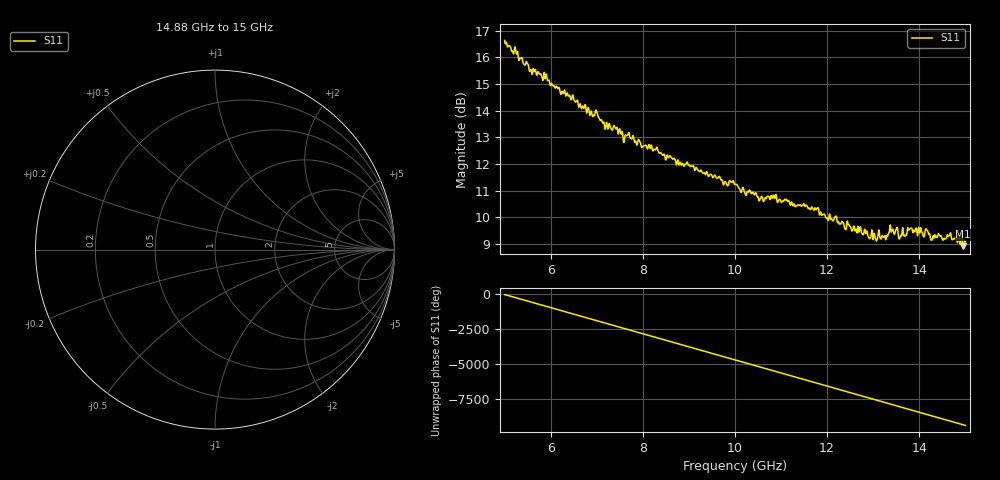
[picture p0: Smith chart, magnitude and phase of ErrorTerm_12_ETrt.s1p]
!  1-Port S-parameters saved by WinCal
! VAR NAME=2-Port SOLT labuser 7
! VAR Error Term Name=ETrt phys rcv port 1 phys src port 2
# Hz S RI R 50
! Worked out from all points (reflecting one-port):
!   1001 points, 5 GHz to 15 GHz, reference 50 ohm
!   lowest |S11| = 8.9 dB at 14.95 GHz (marker M1)
!   phase of S11 starts at -64 deg and turns -9327 deg over the sweep
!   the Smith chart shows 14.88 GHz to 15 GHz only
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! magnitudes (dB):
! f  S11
! 5 GHz  16.6
! 5.56 GHz  15.5
! 5.9 GHz  15.4
! 6.25 GHz  14.7
! 6.89 GHz  13.9
! 7.01 GHz  13.9
! 7.2 GHz  13.5
! 7.5 GHz  13.3
! 8.75 GHz  12.1
! 9.62 GHz  11.5
! 9.79 GHz  11.3
! 10 GHz  11.2
! 10.57 GHz  10.8
! 10.84 GHz  10.8
! 11.25 GHz  10.4
! 11.77 GHz  10.3
! 11.99 GHz  10.0
! 12.5 GHz  9.7
! 13.04 GHz  9.3
! 13.27 GHz  9.2
! 13.39 GHz  9.4
! 13.58 GHz  9.2
! 13.75 GHz  9.6
! 14.17 GHz  9.5
! 14.28 GHz  9.2
! 14.64 GHz  9.3
! 14.95 GHz  8.9
! 15 GHz  9.1
